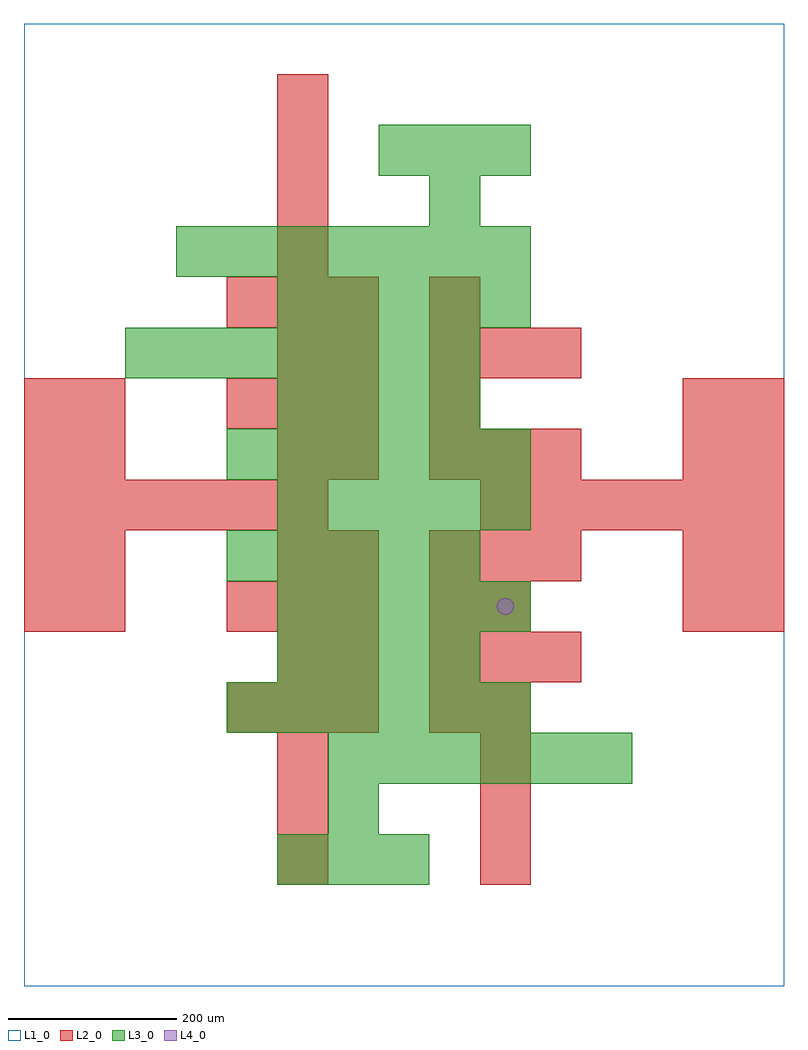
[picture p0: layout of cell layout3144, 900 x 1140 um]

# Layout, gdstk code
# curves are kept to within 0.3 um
import gdstk
lib = gdstk.Library(unit=1e-6, precision=1e-09)
def R(c, l, rs):  # rectangles x0, y0, x1, y1
    for r in rs: c.add(gdstk.rectangle(r[:2], r[2:], *l))
def A(c, l, x, y, w, h, nx, ny, dx, dy):  # array of equal rectangles
    R(c, l, [(x+i*dx, y+j*dy, x+i*dx+w, y+j*dy+h) for i in range(nx) for j in range(ny)])
def P(c, l, *ps):  # polygons
    for p in ps: c.add(gdstk.Polygon(p, *l))
L1_0 = (1, 0)
L2_0 = (2, 0)
L3_0 = (3, 0)
L4_0 = (4, 0)

layout3144 = lib.new_cell('layout3144')
R(layout3144, L1_0, [(0,0,900,1140)])
A(layout3144, L2_0, 300, 120, 60, 60, 1, 3, 0, 60)
A(layout3144, L2_0, 540, 120, 60, 60, 1, 4, 0, 60)
A(layout3144, L2_0, 240, 300, 60, 60, 3, 2, 60, 120)
A(layout3144, L2_0, 300, 360, 60, 60, 1, 5, 0, 120)
A(layout3144, L2_0, 360, 360, 60, 60, 1, 4, 0, 120)
A(layout3144, L2_0, 480, 360, 60, 60, 3, 4, 60, 120)
A(layout3144, L2_0, 0, 540, 60, 60, 6, 1, 60, 0)
A(layout3144, L2_0, 540, 540, 60, 60, 6, 1, 60, 0)
A(layout3144, L2_0, 240, 660, 60, 60, 3, 2, 60, 120)
A(layout3144, L2_0, 300, 900, 60, 60, 1, 3, 0, 60)
R(layout3144, L2_0, [(480,300,540,360), (0,420,60,480), (60,420,120,480), (480,420,540,480), (540,420,600,480), (780,420,840,480), (840,420,900,480), (0,480,60,540), (60,480,120,540), (780,480,840,540), (840,480,900,540), (0,600,60,660), (60,600,120,660), (780,600,840,660), (840,600,900,660), (0,660,60,720), (60,660,120,720), (480,660,540,720), (780,660,840,720), (840,660,900,720), (480,780,540,840)])
A(layout3144, L3_0, 300, 120, 60, 60, 3, 1, 60, 0)
A(layout3144, L3_0, 360, 240, 60, 60, 6, 1, 60, 0)
A(layout3144, L3_0, 240, 300, 60, 60, 6, 2, 60, 300)
A(layout3144, L3_0, 300, 360, 60, 60, 4, 2, 60, 300)
A(layout3144, L3_0, 300, 420, 60, 60, 5, 2, 60, 120)
A(layout3144, L3_0, 240, 480, 60, 60, 5, 1, 60, 0)
A(layout3144, L3_0, 120, 720, 60, 60, 7, 1, 60, 0)
A(layout3144, L3_0, 300, 780, 60, 60, 5, 1, 60, 0)
A(layout3144, L3_0, 180, 840, 60, 60, 7, 1, 60, 0)
A(layout3144, L3_0, 420, 960, 60, 60, 3, 1, 60, 0)
R(layout3144, L3_0, [(360,180,420,240), (480,900,540,960)])
P(layout3144, L4_0, [(580,450),(579.239,453.827),(577.071,457.071),(573.827,459.239),(570,460),(566.173,459.239),(562.929,457.071),(560.761,453.827),(560,450),(560.761,446.173),(562.929,442.929),(566.173,440.761),(570,440),(573.827,440.761),(577.071,442.929),(579.239,446.173)])

lib.write_gds('layout3144.gds')
